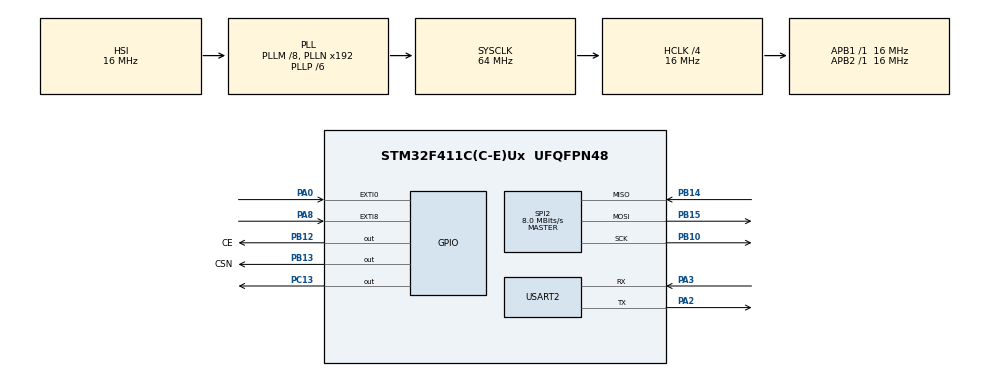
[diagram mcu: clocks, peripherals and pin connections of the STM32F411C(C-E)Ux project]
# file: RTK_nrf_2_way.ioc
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Mcu.Family=STM32F4
Mcu.Name=STM32F411C(C-E)Ux
Mcu.Package=UFQFPN48
NVIC.EXTI0_IRQn=true\:0\:0\:false\:false\:true\:true\:true\:true
NVIC.EXTI9_5_IRQn=true\:0\:0\:false\:false\:true\:true\:true\:true
NVIC.PriorityGroup=NVIC_PRIORITYGROUP_4
NVIC.SPI2_IRQn=true\:0\:0\:false\:false\:true\:true\:true\:true
NVIC.TIM3_IRQn=true\:0\:0\:false\:false\:true\:true\:true\:true
NVIC.USART2_IRQn=true\:0\:0\:false\:false\:true\:true\:true\:true
PA0-WKUP.GPIO_ModeDefaultEXTI=GPIO_MODE_IT_FALLING
PA0-WKUP.Signal=GPXTI0
PA2.Mode=Asynchronous
PA2.Signal=USART2_TX
PA3.Mode=Asynchronous
PA3.Signal=USART2_RX
PA8.Signal=GPXTI8
PB10.Mode=Full_Duplex_Master
PB10.Signal=SPI2_SCK
PB12.GPIO_Label=CE
PB12.GPIO_Speed=GPIO_SPEED_FREQ_HIGH
PB12.Signal=GPIO_Output
PB13.GPIO_Label=CSN
PB13.GPIO_Speed=GPIO_SPEED_FREQ_HIGH
PB13.Signal=GPIO_Output
PB14.Mode=Full_Duplex_Master
PB14.Signal=SPI2_MISO
PB15.Mode=Full_Duplex_Master
PB15.Signal=SPI2_MOSI
PC13-ANTI_TAMP.Signal=GPIO_Output
ProjectManager.HeapSize=0x200
ProjectManager.StackSize=0x400
ProjectManager.TargetToolchain=STM32CubeIDE
RCC.48MHZClocksFreq_Value=96000000
RCC.AHBCLKDivider=RCC_SYSCLK_DIV4
RCC.AHBFreq_Value=16000000
RCC.APB1Freq_Value=16000000
RCC.APB1TimFreq_Value=16000000
RCC.APB2Freq_Value=16000000
RCC.APB2TimFreq_Value=16000000
RCC.CortexFreq_Value=16000000
RCC.HCLKFreq_Value=16000000
RCC.HSE_VALUE=25000000
RCC.HSI_VALUE=16000000
RCC.LSE_VALUE=32768
RCC.PLLM=8
RCC.PLLP=RCC_PLLP_DIV6
RCC.SYSCLKFreq_VALUE=64000000
RCC.SYSCLKSource=RCC_SYSCLKSOURCE_PLLCLK
RCC.VCOOutputFreq_Value=384000000
SPI2.BaudRatePrescaler=SPI_BAUDRATEPRESCALER_2
SPI2.CalculateBaudRate=8.0 MBits/s
SPI2.Direction=SPI_DIRECTION_2LINES
SPI2.Mode=SPI_MODE_MASTER
SPI2.VirtualType=VM_MASTER
TIM3.Period=2599
TIM3.Prescaler=1599
USART2.VirtualMode=VM_ASYNC
VP_TIM3_VS_ClockSourceINT.Mode=Internal
board=custom

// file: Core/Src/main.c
/* USER CODE BEGIN Header */
/**
  ******************************************************************************
  * @file           : main.c
  * @brief          : Main program body
  ******************************************************************************
  * @attention
  *
  * Copyright (c) 2024 STMicroelectronics.
  * All rights reserved.
  *
  * This software is licensed under terms that can be found in the LICENSE file
  * in the root directory of this software component.
  * If no LICENSE file comes with this software, it is provided AS-IS.
  *
  ******************************************************************************
  */
/* USER CODE END Header */
#include "main.h"

/* USER CODE BEGIN Includes */
#include <stdio.h>
#include <string.h>
#include "NRF24.h"
#include "NRF24_reg_addresses.h"
/* USER CODE END Includes */

/* USER CODE BEGIN PD */

#define NRF_SIZE 32
#define MAX_SIZE 1000
#define GGA_SIZE 250

#define INTERVAL_MODE_5 2 // = 1s

#define TX
#define Quectel
/* USER CODE END PD */

SPI_HandleTypeDef hspi2;

TIM_HandleTypeDef htim3;

UART_HandleTypeDef huart2;

void SystemClock_Config(void);
static void MX_GPIO_Init(void);
static void MX_SPI2_Init(void);
static void MX_USART2_UART_Init(void);
static void MX_TIM3_Init(void);
/* USER CODE BEGIN PFP */

uint8_t Send_Large_Data(uint8_t* data, uint16_t size);
int16_t Get_End_RTCM_Index(uint8_t* packet, uint16_t size, uint16_t start);
int16_t Get_End_GGA_Index(uint8_t* data, uint16_t size, uint16_t start);

#ifdef RX
void handleUARTError(UART_HandleTypeDef *huart);
#endif

/* USER CODE END PFP */

/* USER CODE BEGIN 0 */
#ifdef TX
uint8_t nrf_tx_data[MAX_SIZE] = {};
uint8_t ack_Tx[NRF_SIZE];
#endif

#ifdef RX

uint8_t ack_Rx[NRF_SIZE] = { "Received" };
volatile uint8_t gga_index = 0;      // Tracks the current index for incoming data
volatile uint8_t data_ready = 0;    // Flag to signal that a string is ready
#endif

uint8_t nrf_rx_packet[NRF_SIZE];
uint8_t nrf_rx_data[MAX_SIZE];
uint16_t nrf_packet_id = 0;

uint8_t rover_gga_message[GGA_SIZE];
uint8_t rover_mode;
uint8_t interval_mode_5 = INTERVAL_MODE_5;

uint8_t GGA_set_command[18] = { 0x24, 0x50, 0x41, 0x49, 0x52, 0x30, 0x36, 0x32, 0x2C, 0x30, 0x2C, 0x30, 0x31, 0x2A, 0x30, 0x46, 0x0D, 0x0A }; //$PAIR062,0,01*0F
uint8_t GGA_start[6] = { 0x24, 0x47, 0x4E, 0x47, 0x47, 0x41 };

uint8_t ret = 0;
/* USER CODE END 0 */

int main(void)
{

  /* MCU Configuration--------------------------------------------------------*/

  /* Reset of all peripherals, Initializes the Flash interface and the Systick. */
  HAL_Init();

  /* Configure the system clock */
  SystemClock_Config();

  /* Initialize all configured peripherals */
  MX_GPIO_Init();
  MX_SPI2_Init();
  MX_USART2_UART_Init();
  MX_TIM3_Init();
  /* USER CODE BEGIN 2 */

  csn_high();
  nrf24_init();
  nrf24_tx_pwr(_0dbm);
  nrf24_data_rate(_1mbps);
  nrf24_set_channel(78);
  nrf24_set_crc(en_crc, _1byte);
  nrf24_pipe_pld_size(0, NRF_SIZE);

  uint8_t addr_base[5] = { 0x10, 0x21, 0x32, 0x43, 0x54 };
  uint8_t addr_rover[5] = { 0x10, 0x21, 0x32, 0x43, 0x53 };

  HAL_Delay(1000); // waiting initial Station

#ifdef TX

  nrf24_open_tx_pipe(addr_base);
  nrf24_open_rx_pipe(0, addr_rover);

#ifdef Quectel

  HAL_UART_Transmit(&huart2, GGA_set_command, sizeof(GGA_set_command) / sizeof(uint8_t), 100);
  HAL_Delay(500); // waiting initial GGA Command

#endif

#endif

#ifdef RX

  nrf24_open_tx_pipe(addr_rover);
  nrf24_open_rx_pipe(0, addr_base);

  HAL_UART_Receive_IT(&huart2, &rover_gga_message[gga_index], 1);

#endif

  HAL_TIM_Base_Start_IT(&htim3);
  /* USER CODE END 2 */

  /* Infinite loop */
  /* USER CODE BEGIN WHILE */
  while (1)
  {
	  // TEST GIT
#ifdef TX

	  HAL_UART_Receive(&huart2, (uint8_t *)&nrf_tx_data, MAX_SIZE, 250);
	  // get end of data

	  int16_t rtcm_end_id = Get_End_RTCM_Index(nrf_tx_data, MAX_SIZE, 0);
	  if (rtcm_end_id > 0){
		  // separate data and send chunk
		  uint8_t check[rtcm_end_id]; // to extend to send
		  memcpy(check, nrf_tx_data, sizeof(check));

		  nrf24_stop_listen();

		  Send_Large_Data(check, rtcm_end_id);

		  memset(nrf_tx_data, 0, sizeof(nrf_tx_data));

		  HAL_Delay(1);
	  }

	  nrf24_listen();

	  if (nrf24_data_available()){

		  nrf24_receive(nrf_rx_packet, sizeof(nrf_rx_packet));

		  memcpy(&rover_gga_message[nrf_packet_id], nrf_rx_packet, sizeof(nrf_rx_packet));
		  nrf_packet_id += NRF_SIZE;

		  int16_t gga_end_id = Get_End_GGA_Index(rover_gga_message, GGA_SIZE, 0);

		  if (gga_end_id > 0){

			  HAL_UART_Transmit(&huart2, rover_gga_message, gga_end_id, 100);

			  memset(rover_gga_message, 0, sizeof(rover_gga_message));

			  nrf_packet_id = 0;
		  }

		  memset(nrf_rx_packet, 0, sizeof(nrf_rx_packet));

		  HAL_Delay(1);
	  }

#endif
#ifdef RX
	  // NRF Receiver Processing

	  HAL_UART_Receive(&huart2, (uint8_t *)&rover_gga_message, GGA_SIZE, 250);

	  int16_t end_gga_index = Get_End_GGA_Index(rover_gga_message, sizeof(rover_gga_message), 0);

	  if (end_gga_index > 0){

		  nrf24_stop_listen();

		  Send_Large_Data(rover_gga_message, end_gga_index);

		  int comma_count = 0;
		  for(int j = 0; j < GGA_SIZE; j++){
			  if (rover_gga_message[j] == 0x2C){ // 2C is ','
				  comma_count++;
				  if (comma_count == 6) // from $GNGGA to Rover Mode
				  {
					  rover_mode = rover_gga_message[j + 1];
					  break;
				  }
			  }
		  }

		  memset(rover_gga_message, 0, sizeof(rover_gga_message));
	  }

	  nrf24_listen();

	  if (nrf24_data_available()){
		  nrf24_receive(nrf_rx_packet, sizeof(nrf_rx_packet));

		  //HAL_UART_Transmit(&huart2, nrf_rx_packet, NRF_SIZE, 10);

		  memcpy(&nrf_rx_data[nrf_packet_id], nrf_rx_packet, sizeof(nrf_rx_packet) / sizeof(uint8_t));
		  nrf_packet_id += NRF_SIZE;

		  int16_t end_rtcm_id = Get_End_RTCM_Index(nrf_rx_data, MAX_SIZE, 0);

		  if (end_rtcm_id > 0){

			  HAL_UART_Transmit(&huart2, nrf_rx_data, end_rtcm_id, 250);

			  memset(nrf_rx_data, 0, sizeof(nrf_rx_data));

			  nrf_packet_id = 0;
		  }

		  memset(nrf_rx_packet, 0, sizeof(nrf_rx_packet));
	  }

	  // UART (Rover GGA) Receiver Processing
	  /*if (data_ready) {

		  data_ready = 0;  // Reset flag

		  nrf24_stop_listen();

		  int16_t end_gga_index = Get_End_GGA_Index(rover_gga_message, sizeof(rover_gga_message), 0);

		  Send_Large_Data(rover_gga_message, end_gga_index);

		  int comma_count = 0;
		  for(int j = 0; j < GGA_SIZE; j++){
			  if (rover_gga_message[j] == 0x2C){ // 2C is ','
				  comma_count++;
				  if (comma_count == 6) // from $GNGGA to Rover Mode
				  {
					  rover_mode = rover_gga_message[j + 1];
					  HAL_UART_Receive_IT(&huart2, &rover_gga_message[gga_index], 1);
					  break;
				  }
			  }
		  }
		  memset(rover_gga_message, 0, sizeof(rover_gga_message));
	  }*/
#endif
    /* USER CODE END WHILE */

  }
}

void SystemClock_Config(void)
{
  RCC_OscInitTypeDef RCC_OscInitStruct = {0};
  RCC_ClkInitTypeDef RCC_ClkInitStruct = {0};

  /** Configure the main internal regulator output voltage
  */
  __HAL_RCC_PWR_CLK_ENABLE();
  __HAL_PWR_VOLTAGESCALING_CONFIG(PWR_REGULATOR_VOLTAGE_SCALE1);

  /** Initializes the RCC Oscillators according to the specified parameters
  * in the RCC_OscInitTypeDef structure.
  */
  RCC_OscInitStruct.OscillatorType = RCC_OSCILLATORTYPE_HSI;
  RCC_OscInitStruct.HSIState = RCC_HSI_ON;
  RCC_OscInitStruct.HSICalibrationValue = RCC_HSICALIBRATION_DEFAULT;
  RCC_OscInitStruct.PLL.PLLState = RCC_PLL_ON;
  RCC_OscInitStruct.PLL.PLLSource = RCC_PLLSOURCE_HSI;
  RCC_OscInitStruct.PLL.PLLM = 8;
  RCC_OscInitStruct.PLL.PLLN = 192;
  RCC_OscInitStruct.PLL.PLLP = RCC_PLLP_DIV6;
  RCC_OscInitStruct.PLL.PLLQ = 4;
  if (HAL_RCC_OscConfig(&RCC_OscInitStruct) != HAL_OK)
  {
    Error_Handler();
  }

  /** Initializes the CPU, AHB and APB buses clocks
  */
  RCC_ClkInitStruct.ClockType = RCC_CLOCKTYPE_HCLK|RCC_CLOCKTYPE_SYSCLK
                              |RCC_CLOCKTYPE_PCLK1|RCC_CLOCKTYPE_PCLK2;
  RCC_ClkInitStruct.SYSCLKSource = RCC_SYSCLKSOURCE_PLLCLK;
  RCC_ClkInitStruct.AHBCLKDivider = RCC_SYSCLK_DIV4;
  RCC_ClkInitStruct.APB1CLKDivider = RCC_HCLK_DIV1;
  RCC_ClkInitStruct.APB2CLKDivider = RCC_HCLK_DIV1;

  if (HAL_RCC_ClockConfig(&RCC_ClkInitStruct, FLASH_LATENCY_0) != HAL_OK)
  {
    Error_Handler();
  }
}

static void MX_SPI2_Init(void)
{

  /* SPI2 parameter configuration*/
  hspi2.Instance = SPI2;
  hspi2.Init.Mode = SPI_MODE_MASTER;
  hspi2.Init.Direction = SPI_DIRECTION_2LINES;
  hspi2.Init.DataSize = SPI_DATASIZE_8BIT;
  hspi2.Init.CLKPolarity = SPI_POLARITY_LOW;
  hspi2.Init.CLKPhase = SPI_PHASE_1EDGE;
  hspi2.Init.NSS = SPI_NSS_SOFT;
  hspi2.Init.BaudRatePrescaler = SPI_BAUDRATEPRESCALER_2;
  hspi2.Init.FirstBit = SPI_FIRSTBIT_MSB;
  hspi2.Init.TIMode = SPI_TIMODE_DISABLE;
  hspi2.Init.CRCCalculation = SPI_CRCCALCULATION_DISABLE;
  hspi2.Init.CRCPolynomial = 10;
  if (HAL_SPI_Init(&hspi2) != HAL_OK)
  {
    Error_Handler();
  }

}

static void MX_TIM3_Init(void)
{

  TIM_ClockConfigTypeDef sClockSourceConfig = {0};
  TIM_MasterConfigTypeDef sMasterConfig = {0};

  htim3.Instance = TIM3;
  htim3.Init.Prescaler = 1599;
  htim3.Init.CounterMode = TIM_COUNTERMODE_UP;
  htim3.Init.Period = 2599;
  htim3.Init.ClockDivision = TIM_CLOCKDIVISION_DIV1;
  htim3.Init.AutoReloadPreload = TIM_AUTORELOAD_PRELOAD_DISABLE;
  if (HAL_TIM_Base_Init(&htim3) != HAL_OK)
  {
    Error_Handler();
  }
  sClockSourceConfig.ClockSource = TIM_CLOCKSOURCE_INTERNAL;
  if (HAL_TIM_ConfigClockSource(&htim3, &sClockSourceConfig) != HAL_OK)
  {
    Error_Handler();
  }
  sMasterConfig.MasterOutputTrigger = TIM_TRGO_RESET;
  sMasterConfig.MasterSlaveMode = TIM_MASTERSLAVEMODE_DISABLE;
  if (HAL_TIMEx_MasterConfigSynchronization(&htim3, &sMasterConfig) != HAL_OK)
  {
    Error_Handler();
  }

}

static void MX_USART2_UART_Init(void)
{

  huart2.Instance = USART2;
  huart2.Init.BaudRate = 115200;
  huart2.Init.WordLength = UART_WORDLENGTH_8B;
  huart2.Init.StopBits = UART_STOPBITS_1;
  huart2.Init.Parity = UART_PARITY_NONE;
  huart2.Init.Mode = UART_MODE_TX_RX;
  huart2.Init.HwFlowCtl = UART_HWCONTROL_NONE;
  huart2.Init.OverSampling = UART_OVERSAMPLING_16;
  if (HAL_UART_Init(&huart2) != HAL_OK)
  {
    Error_Handler();
  }

}

static void MX_GPIO_Init(void)
{
  GPIO_InitTypeDef GPIO_InitStruct = {0};

  /* GPIO Ports Clock Enable */
  __HAL_RCC_GPIOC_CLK_ENABLE();
  __HAL_RCC_GPIOA_CLK_ENABLE();
  __HAL_RCC_GPIOB_CLK_ENABLE();

  /*Configure GPIO pin Output Level */
  HAL_GPIO_WritePin(GPIOC, GPIO_PIN_13, GPIO_PIN_RESET);

  /*Configure GPIO pin Output Level */
  HAL_GPIO_WritePin(GPIOB, CE_Pin|CSN_Pin, GPIO_PIN_RESET);

  /*Configure GPIO pin : PC13 */
  GPIO_InitStruct.Pin = GPIO_PIN_13;
  GPIO_InitStruct.Mode = GPIO_MODE_OUTPUT_PP;
  GPIO_InitStruct.Pull = GPIO_NOPULL;
  GPIO_InitStruct.Speed = GPIO_SPEED_FREQ_LOW;
  HAL_GPIO_Init(GPIOC, &GPIO_InitStruct);

  /*Configure GPIO pin : PA0 */
  GPIO_InitStruct.Pin = GPIO_PIN_0;
  GPIO_InitStruct.Mode = GPIO_MODE_IT_FALLING;
  GPIO_InitStruct.Pull = GPIO_NOPULL;
  HAL_GPIO_Init(GPIOA, &GPIO_InitStruct);

  /*Configure GPIO pins : CE_Pin CSN_Pin */
  GPIO_InitStruct.Pin = CE_Pin|CSN_Pin;
  GPIO_InitStruct.Mode = GPIO_MODE_OUTPUT_PP;
  GPIO_InitStruct.Pull = GPIO_NOPULL;
  GPIO_InitStruct.Speed = GPIO_SPEED_FREQ_HIGH;
  HAL_GPIO_Init(GPIOB, &GPIO_InitStruct);

  /*Configure GPIO pin : PA8 */
  GPIO_InitStruct.Pin = GPIO_PIN_8;
  GPIO_InitStruct.Mode = GPIO_MODE_IT_RISING;
  GPIO_InitStruct.Pull = GPIO_NOPULL;
  HAL_GPIO_Init(GPIOA, &GPIO_InitStruct);

  /* EXTI interrupt init*/
  HAL_NVIC_SetPriority(EXTI0_IRQn, 0, 0);
  HAL_NVIC_EnableIRQ(EXTI0_IRQn);

  HAL_NVIC_SetPriority(EXTI9_5_IRQn, 0, 0);
  HAL_NVIC_EnableIRQ(EXTI9_5_IRQn);

}

/* USER CODE BEGIN 4 */

int16_t Get_End_RTCM_Index(uint8_t* data, uint16_t size, uint16_t start)
{
	uint8_t d3_count = 0;

	int16_t rtcm_end_id = 0;

	if (start == 0)
		start = 1;

	for (int i = start; i < size; i++){
		if (data[i] == 0xD3)
			d3_count++;

		if(d3_count >=5 && data[i-1] == 0x0D && data[i] == 0x0A)
		{
			rtcm_end_id = i + 1;
			break;
		}
	}

	return rtcm_end_id;
}

int16_t Get_End_GGA_Index(uint8_t* data, uint16_t size, uint16_t start)
{
	// check start gga

	int16_t gga_end_id = 0;

	if (start == 0)
		start = 1;

	for (int i = start; i < size; i++){
		if(data[i-1] == 0x0D && data[i] == 0x0A)
		{
			gga_end_id = i + 1;
			break;
		}
	}

	return gga_end_id;
}

#ifdef RX
void HAL_TIM_PeriodElapsedCallback(TIM_HandleTypeDef *htim)
{
	if(htim->Instance == TIM3)
	{
		switch (rover_mode)
		{
			case '0':
				HAL_GPIO_WritePin(GPIOC, GPIO_PIN_13, GPIO_PIN_SET);
			break;
			case '4':
				HAL_GPIO_WritePin(GPIOC, GPIO_PIN_13, GPIO_PIN_RESET);
				break;
			case '5':
				interval_mode_5--;
				if (interval_mode_5 == 0){
					interval_mode_5 = INTERVAL_MODE_5;
					HAL_GPIO_TogglePin(GPIOC, GPIO_PIN_13);
				}
				break;
			default:
				HAL_GPIO_TogglePin(GPIOC, GPIO_PIN_13);
				break;
		}
	}
}

void HAL_UART_RxCpltCallback(UART_HandleTypeDef *huart){
    if(huart->Instance == USART2){
    	if (__HAL_UART_GET_FLAG(huart, UART_FLAG_FE) ||
			__HAL_UART_GET_FLAG(huart, UART_FLAG_ORE) ||
			__HAL_UART_GET_FLAG(huart, UART_FLAG_NE)) {

			// Handle UART errors (e.g., reset UART, alert user)
			handleUARTError(huart);
		}
		// Check if the buffer is full
		if (rover_gga_message[gga_index] == 0x0A
				&& rover_gga_message[gga_index - 1] == 0x0D) {
			data_ready = 1;  // Set flag to indicate data reception is complete
			gga_index = 0;
		}
		else {
	    	gga_index++;
			// Continue receiving next byte if buffer is not yet full
			HAL_UART_Receive_IT(&huart2, &rover_gga_message[gga_index], 1);
		}
    }
}
void HAL_UART_ErrorCallback(UART_HandleTypeDef *huart) {
    if (huart->Instance == USART1) {
        // Handle error if UART has a problem (e.g., disconnection)
        handleUARTError(huart);
    }
}

void handleUARTError(UART_HandleTypeDef *huart) {
    // Disable UART interrupts to stop triggering further
    __HAL_UART_DISABLE_IT(huart, UART_IT_RXNE);

    // Optionally, reset UART (if needed)
    __HAL_UART_CLEAR_OREFLAG(huart);
    __HAL_UART_CLEAR_NEFLAG(huart);
    __HAL_UART_CLEAR_FEFLAG(huart);
    __HAL_UART_CLEAR_PEFLAG(huart);

    // Re-enable UART for reception
    HAL_UART_Receive_IT(huart, &rover_gga_message[gga_index], 1);
}
#endif

uint8_t Send_Large_Data(uint8_t* data, uint16_t size)
{
	uint8_t ret = 0;
	uint8_t chunk[NRF_SIZE];

	for (uint16_t i = 0; i < size; i += NRF_SIZE) {

		uint16_t packet_size = 0;

		if (size - i < NRF_SIZE){
			packet_size = size - i;
		}
		else{
			packet_size = NRF_SIZE;
		}

		memcpy(chunk, data + i, packet_size * sizeof(uint8_t));

		// Send the 32-byte chunk

		//HAL_UART_Transmit(&huart2, chunk, NRF_SIZE, 5);
		ret = nrf24_transmit(chunk, sizeof(chunk));
		while(ret == 1){
			// TODO: timer break while
			HAL_Delay(1);

			ret = nrf24_transmit(chunk, sizeof(chunk));
		}

		for(uint8_t j = 0; j < NRF_SIZE; j++){
			chunk[j] = '\0';
		}

		// Short delay if necessary to avoid overload
		HAL_Delay(1);
	}
	return ret;
}
/* USER CODE END 4 */

void Error_Handler(void)
{
  __disable_irq();
  while (1)
  {
  }
}
